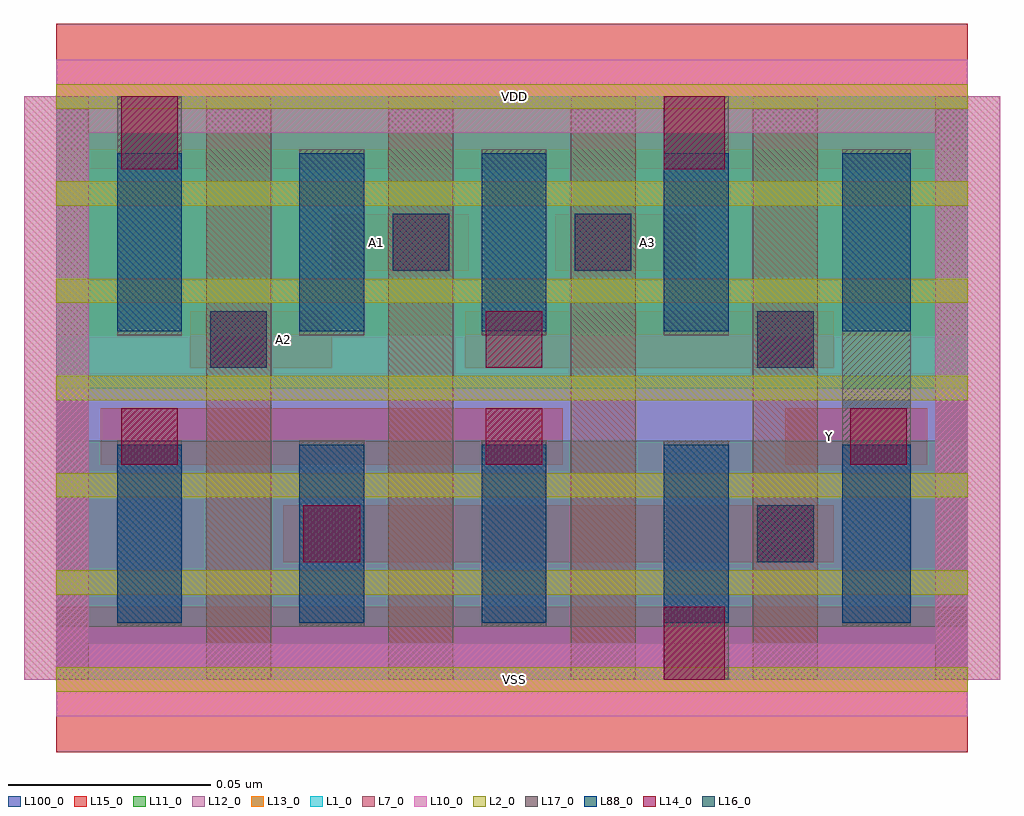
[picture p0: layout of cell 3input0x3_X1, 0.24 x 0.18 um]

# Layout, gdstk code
import gdstk
lib = gdstk.Library(unit=1e-6, precision=1e-09)
def R(c, l, rs):  # rectangles x0, y0, x1, y1
    for r in rs: c.add(gdstk.rectangle(r[:2], r[2:], *l))
def A(c, l, x, y, w, h, nx, ny, dx, dy):  # array of equal rectangles
    R(c, l, [(x+i*dx, y+j*dy, x+i*dx+w, y+j*dy+h) for i in range(nx) for j in range(ny)])
def P(c, l, *ps):  # polygons
    for p in ps: c.add(gdstk.Polygon(p, *l))
L1_0 = (1, 0)
L2_0 = (2, 0)
L7_0 = (7, 0)
L10_0 = (10, 0)
L11_0 = (11, 0)
L12_0 = (12, 0)
L13_0 = (13, 0)
L14_0 = (14, 0)
L15_0 = (15, 0)
L16_0 = (16, 0)
L17_0 = (17, 0)
L88_0 = (88, 0)
L100_0 = (100, 0)

c_3input0x3_x1 = lib.new_cell('3input0x3_X1')
R(c_3input0x3_x1, L1_0, [(0,0.072,0.225,0.144)])
A(c_3input0x3_x1, L2_0, 0, -0.003, 0.225, 0.006, 1, 7, 0, 0.024)
A(c_3input0x3_x1, L7_0, -0.008, 0, 0.016, 0.144, 6, 1, 0.045, 0)
P(c_3input0x3_x1, L10_0, [(0,-0.009),(0,0),(-0.008,0),(-0.008,0.135),(0.008,0.135),(0.008,0.009),(0.217,0.009),(0.217,0.135),(-0.008,0.135),(-0.008,0.144),(0,0.144),(0,0.153),(0.225,0.153),(0.225,0.144),(0.233,0.144),(0.233,0),(0.225,0),(0.225,-0.009)])
R(c_3input0x3_x1, L11_0, [(0,0.013,0.225,0.059), (0,0.085,0.225,0.131)])
R(c_3input0x3_x1, L12_0, [(0,0,0.225,0.072)])
R(c_3input0x3_x1, L13_0, [(0,0.072,0.225,0.144)])
A(c_3input0x3_x1, L14_0, 0.016, 0.053, 0.014, 0.014, 3, 1, 0.09, 0)
R(c_3input0x3_x1, L14_0, [(0.15,0,0.165,0.018), (0.061,0.029,0.075,0.043), (0.173,0.029,0.187,0.043), (0.038,0.077,0.052,0.091), (0.106,0.077,0.12,0.091), (0.173,0.077,0.187,0.091), (0.083,0.101,0.097,0.115), (0.128,0.101,0.142,0.115), (0.016,0.126,0.03,0.144), (0.15,0.126,0.165,0.144)])
R(c_3input0x3_x1, L15_0, [(0,-0.018,0.225,0.018), (0.056,0.029,0.192,0.043), (0.011,0.053,0.125,0.067), (0.18,0.053,0.215,0.067), (0.033,0.077,0.068,0.091), (0.101,0.077,0.192,0.091), (0.068,0.101,0.102,0.115), (0.123,0.101,0.158,0.115), (0,0.126,0.225,0.162)])
R(c_3input0x3_x1, L16_0, [(0.173,0.029,0.187,0.043), (0.038,0.077,0.052,0.091), (0.173,0.077,0.187,0.091), (0.083,0.101,0.097,0.115), (0.128,0.101,0.142,0.115)])
A(c_3input0x3_x1, L17_0, 0.015, 0.013, 0.016, 0.046, 3, 1, 0.045, 0)
R(c_3input0x3_x1, L17_0, [(0.15,0,0.166,0.059), (0.194,0.013,0.211,0.131), (0.015,0.085,0.031,0.144), (0.06,0.085,0.076,0.131), (0.105,0.085,0.121,0.131), (0.15,0.085,0.166,0.144)])
A(c_3input0x3_x1, L88_0, 0.015, 0.014, 0.016, 0.044, 4, 2, 0.045, 0.072)
R(c_3input0x3_x1, L88_0, [(0.194,0.014,0.211,0.058), (0.194,0.086,0.211,0.13)])
R(c_3input0x3_x1, L100_0, [(0,0,0.225,0.144)])
c_3input0x3_x1.add(gdstk.Label('A1', (0.079,0.108), layer=15, texttype=251))
c_3input0x3_x1.add(gdstk.Label('VSS', (0.113,0), layer=15, texttype=251))
c_3input0x3_x1.add(gdstk.Label('VDD', (0.113,0.144), layer=15, texttype=251))
c_3input0x3_x1.add(gdstk.Label('Y', (0.191,0.06), layer=15, texttype=251))
c_3input0x3_x1.add(gdstk.Label('VSS', (0.113,0), layer=15, texttype=251))
c_3input0x3_x1.add(gdstk.Label('VDD', (0.113,0.144), layer=15, texttype=251))
c_3input0x3_x1.add(gdstk.Label('A2', (0.056,0.084), layer=15, texttype=251))
c_3input0x3_x1.add(gdstk.Label('VSS', (0.113,0), layer=15, texttype=251))
c_3input0x3_x1.add(gdstk.Label('VDD', (0.113,0.144), layer=15, texttype=251))
c_3input0x3_x1.add(gdstk.Label('A3', (0.146,0.108), layer=15, texttype=251))
c_3input0x3_x1.add(gdstk.Label('VSS', (0.113,0), layer=15, texttype=251))
c_3input0x3_x1.add(gdstk.Label('VDD', (0.113,0.144), layer=15, texttype=251))
c_3input0x3_x1.add(gdstk.Label('VSS', (0.113,0), layer=3, texttype=251))
c_3input0x3_x1.add(gdstk.Label('VSS', (0.113,0), layer=3, texttype=251))
c_3input0x3_x1.add(gdstk.Label('VSS', (0.113,0), layer=3, texttype=251))
c_3input0x3_x1.add(gdstk.Label('VSS', (0.113,0), layer=3, texttype=251))
c_3input0x3_x1.add(gdstk.Label('VDD', (0.113,0.144), layer=1, texttype=251))
c_3input0x3_x1.add(gdstk.Label('VDD', (0.113,0.144), layer=1, texttype=251))
c_3input0x3_x1.add(gdstk.Label('VDD', (0.113,0.144), layer=1, texttype=251))
c_3input0x3_x1.add(gdstk.Label('VDD', (0.113,0.144), layer=1, texttype=251))

lib.write_gds('3input0x3_X1.gds')
